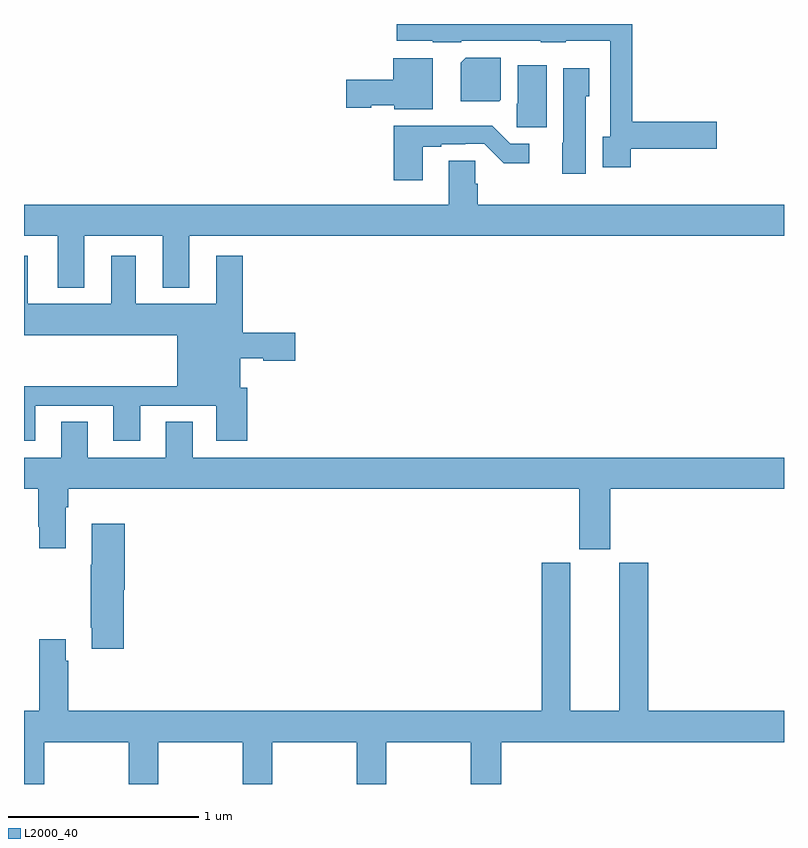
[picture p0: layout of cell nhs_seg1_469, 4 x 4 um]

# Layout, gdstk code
import gdstk
lib = gdstk.Library(unit=1e-6, precision=1e-09)
def P(c, l, *ps):  # polygons
    for p in ps: c.add(gdstk.Polygon(p, *l))
L2000_40 = (2000, 40)

nhs_seg1_469 = lib.new_cell('nhs_seg1_469')
P(nhs_seg1_469, L2000_40, [(140.194,533.542),(140.647,533.542),(140.647,533.684),(140.201,533.684),(140.201,534.199),(138.961,534.199),(138.961,534.11),(139.152,534.11),(139.152,534.104),(139.302,534.104),(139.302,534.111),(139.719,534.111),(139.719,534.104),(139.851,534.104),(139.851,534.11),(140.085,534.11),(140.085,533.606),(140.045,533.606),(140.045,533.445),(140.194,533.445)],
  [(139.51,533.8),(139.51,534.022),(139.324,534.022),(139.298,533.996),(139.298,533.792),(139.502,533.792)],
  [(139.15,534.02),(138.944,534.02),(138.944,533.906),(138.696,533.906),(138.696,533.759),(138.828,533.759),(138.828,533.771),(138.948,533.771),(138.948,533.75),(139.15,533.75)],
  [(139.75,533.983),(139.598,533.983),(139.598,533.778),(139.594,533.778),(139.594,533.655),(139.75,533.655)],
  [(139.957,533.82),(139.975,533.82),(139.975,533.965),(139.838,533.965),(139.838,533.574),(139.832,533.574),(139.832,533.412),(139.957,533.412)],
  [(139.099,533.553),(139.195,533.553),(139.195,533.565),(139.322,533.565),(139.322,533.568),(139.422,533.568),(139.525,533.466),(139.66,533.466),(139.66,533.568),(139.56,533.568),(139.465,533.663),(138.947,533.663),(138.947,533.376),(139.099,533.376)],
  [(137.317,533.084),(137.729,533.084),(137.729,532.811),(137.869,532.811),(137.869,533.084),(141,533.084),(141,533.248),(139.388,533.248),(139.388,533.358),(139.374,533.358),(139.374,533.48),(139.235,533.48),(139.235,533.248),(137,533.248),(137,533.084),(137.177,533.084),(137.177,532.811),(137.317,532.811)],
  [(137.059,532.191),(137.471,532.191),(137.471,532.005),(137.611,532.005),(137.611,532.191),(138.011,532.191),(138.011,532.005),(138.176,532.005),(138.176,532.284),(138.139,532.284),(138.139,532.439),(138.259,532.439),(138.259,532.427),(138.427,532.427),(138.427,532.574),(138.152,532.574),(138.152,532.978),(138.011,532.978),(138.011,532.726),(137.587,532.726),(137.587,532.978),(137.459,532.978),(137.459,532.726),(137.02,532.726),(137.02,532.978),(137,532.978),(137,532.562),(137.807,532.562),(137.807,532.292),(137,532.292),(137,532.005),(137.059,532.005)],
  [(140.086,531.752),(141,531.752),(141,531.916),(137.887,531.916),(137.887,532.106),(137.747,532.106),(137.747,531.916),(137.335,531.916),(137.335,532.106),(137.195,532.106),(137.195,531.916),(137,531.916),(137,531.752),(137.074,531.752),(137.074,531.553),(137.081,531.553),(137.081,531.441),(137.221,531.441),(137.221,531.656),(137.234,531.656),(137.234,531.752),(139.922,531.752),(139.922,531.435),(140.086,531.435)],
  [(137.525,531.222),(137.53,531.222),(137.53,531.568),(137.357,531.568),(137.357,531.353),(137.35,531.353),(137.35,531.022),(137.357,531.022),(137.357,530.91),(137.525,530.91)],
  [(137.106,530.42),(137.551,530.42),(137.551,530.199),(137.706,530.199),(137.706,530.42),(138.151,530.42),(138.151,530.199),(138.306,530.199),(138.306,530.42),(138.751,530.42),(138.751,530.199),(138.906,530.199),(138.906,530.42),(139.351,530.42),(139.351,530.199),(139.511,530.199),(139.511,530.42),(141,530.42),(141,530.584),(140.285,530.584),(140.285,531.363),(140.132,531.363),(140.132,530.584),(139.876,530.584),(139.876,531.363),(139.724,531.363),(139.724,530.584),(137.234,530.584),(137.234,530.849),(137.221,530.849),(137.221,530.962),(137.081,530.962),(137.081,530.584),(137,530.584),(137,530.199),(137.106,530.199)])

lib.write_gds('nhs_seg1_469.gds')
